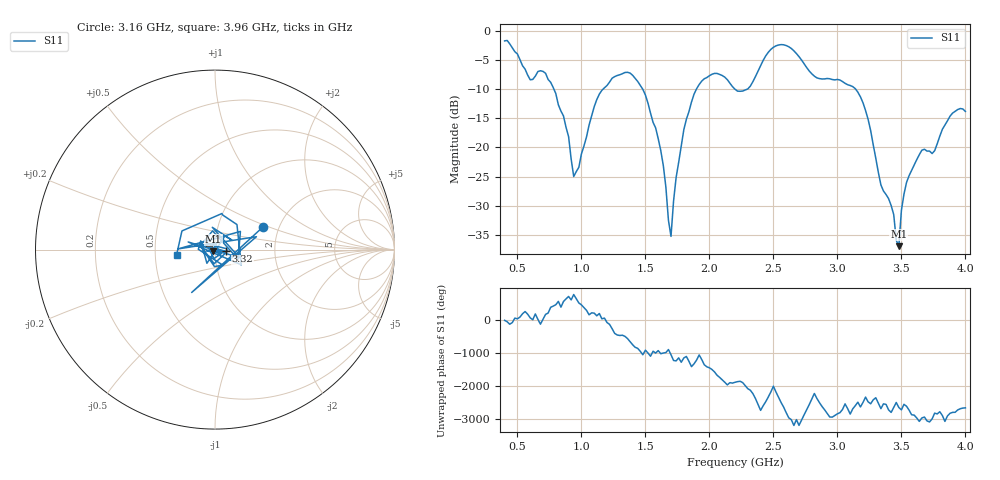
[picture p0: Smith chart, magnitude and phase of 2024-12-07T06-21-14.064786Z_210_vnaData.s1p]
!Created with skrf (http://scikit-rf.org).
# Hz S RI R 50.0
!freq ReS11 ImS11
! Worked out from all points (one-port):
!   181 points, 400 MHz to 4 GHz, reference 50 ohm
!   lowest |S11| = -37.0 dB at 3.48 GHz (marker M1), VSWR 1.03, Z = 49 - j0.958 ohm
!   |S11| at or under -10 dB: 785.3 MHz to 1.169 GHz (383.4 MHz wide, 39.2 % of centre); 1.479 GHz to 1.898 GHz (419 MHz wide, 24.8 % of centre); 3.143 GHz to end of sweep (the widest 3 of 4)
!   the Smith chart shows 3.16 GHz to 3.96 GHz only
!   S11 on the Smith chart (normalised r, x): 3.16 GHz: 1.66, +0.46; 3.32 GHz: 1.13, -0.02; 3.96 GHz: 0.65, -0.04
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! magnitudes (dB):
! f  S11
! 400 MHz  -1.7
! 600 MHz  -8.4
! 720 MHz  -7.3
! 860 MHz  -14.6
! 940 MHz  -25.0
! 1.12 GHz  -11.8
! 1.3 GHz  -7.5
! 1.5 GHz  -11.0
! 1.62 GHz  -20.5
! 1.7 GHz  -35.3
! 1.76 GHz  -22.5
! 1.82 GHz  -15.2
! 1.94 GHz  -8.6
! 2.2 GHz  -10.0
! 2.3 GHz  -10.0
! 2.5 GHz  -2.8
! 2.66 GHz  -3.4
! 2.84 GHz  -8.1
! 3.1 GHz  -9.4
! 3.16 GHz  -10.5
! 3.24 GHz  -15.2
! 3.32 GHz  -24.3
! 3.44 GHz  -31.5
! 3.48 GHz  -37.0
! 3.5 GHz  -30.8
! 3.56 GHz  -24.9
! 3.96 GHz  -13.3
! 4 GHz  -13.8
